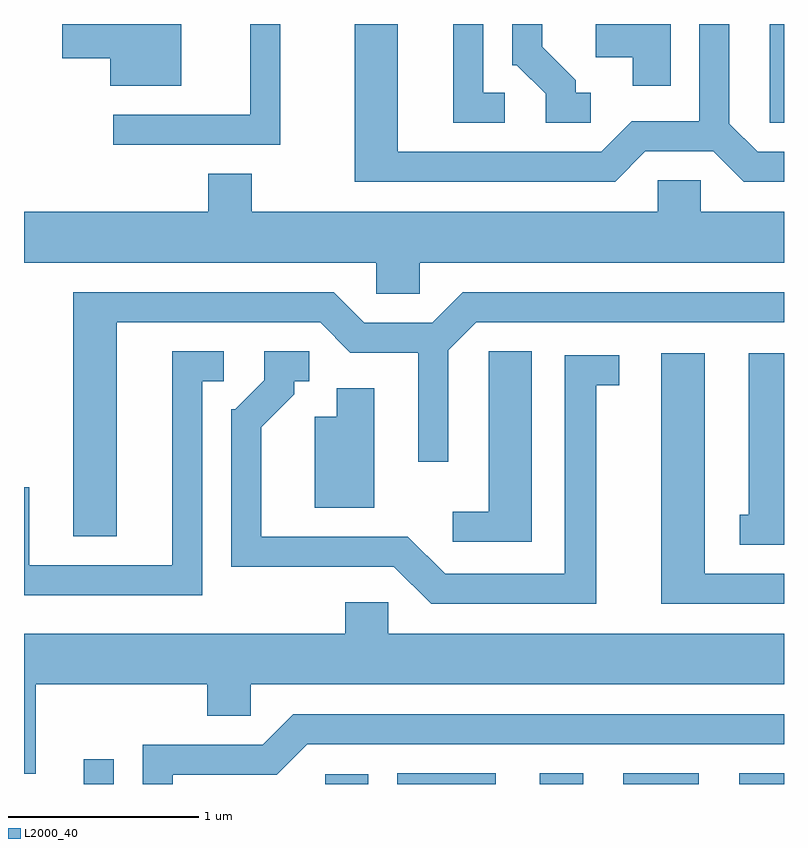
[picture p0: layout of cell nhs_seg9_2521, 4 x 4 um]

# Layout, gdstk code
import gdstk
lib = gdstk.Library(unit=1e-6, precision=1e-09)
def R(c, l, rs):  # rectangles x0, y0, x1, y1
    for r in rs: c.add(gdstk.rectangle(r[:2], r[2:], *l))
def P(c, l, *ps):  # polygons
    for p in ps: c.add(gdstk.Polygon(p, *l))
L2000_40 = (2000, 40)

nhs_seg9_2521 = lib.new_cell('nhs_seg9_2521')
R(nhs_seg9_2521, L2000_40, [(259.926,1962.432,260.084,1962.563), (261.196,1962.432,261.424,1962.484), (261.576,1962.432,262.094,1962.489), (262.326,1962.432,262.554,1962.489), (262.766,1962.432,263.163,1962.489), (263.376,1962.432,263.611,1962.489), (263.536,1965.911,263.611,1966.432)])
P(nhs_seg9_2521, L2000_40, [(263.014,1966.432),(262.621,1966.432),(262.621,1966.256),(262.816,1966.256),(262.816,1966.106),(263.014,1966.106)],
  [(262.882,1965.761),(263.239,1965.761),(263.399,1965.601),(263.611,1965.601),(263.611,1965.759),(263.472,1965.759),(263.324,1965.907),(263.324,1966.432),(263.166,1966.432),(263.166,1965.919),(262.809,1965.919),(262.649,1965.759),(261.579,1965.759),(261.579,1966.432),(261.351,1966.432),(261.351,1965.601),(262.722,1965.601)],
  [(262.142,1966.069),(262.029,1966.069),(262.029,1966.432),(261.871,1966.432),(261.871,1965.911),(262.142,1965.911)],
  [(260.959,1966.432),(260.801,1966.432),(260.801,1965.954),(260.082,1965.954),(260.082,1965.796),(260.959,1965.796)],
  [(262.593,1966.069),(262.514,1966.069),(262.514,1966.137),(262.339,1966.312),(262.339,1966.432),(262.181,1966.432),(262.181,1966.216),(262.204,1966.216),(262.356,1966.064),(262.356,1965.911),(262.593,1965.911)],
  [(260.439,1966.432),(259.811,1966.432),(259.811,1966.251),(260.066,1966.251),(260.066,1966.106),(260.439,1966.106)],
  [(261.694,1965.176),(263.611,1965.176),(263.611,1965.444),(263.174,1965.444),(263.174,1965.609),(262.946,1965.609),(262.946,1965.444),(260.809,1965.444),(260.809,1965.644),(260.581,1965.644),(260.581,1965.444),(259.611,1965.444),(259.611,1965.176),(261.466,1965.176),(261.466,1965.011),(261.694,1965.011)],
  [(260.099,1964.861),(261.169,1964.861),(261.329,1964.701),(261.686,1964.701),(261.686,1964.128),(261.844,1964.128),(261.844,1964.714),(261.992,1964.861),(263.611,1964.861),(263.611,1965.019),(261.919,1965.019),(261.759,1964.859),(261.402,1964.859),(261.242,1965.019),(259.871,1965.019),(259.871,1963.736),(260.099,1963.736)],
  [(262.624,1964.531),(262.743,1964.531),(262.743,1964.689),(262.456,1964.689),(262.456,1963.539),(261.827,1963.539),(261.632,1963.734),(260.859,1963.734),(260.859,1964.309),(261.034,1964.484),(261.034,1964.551),(261.113,1964.551),(261.113,1964.709),(260.876,1964.709),(260.876,1964.557),(260.724,1964.404),(260.701,1964.404),(260.701,1963.576),(261.558,1963.576),(261.754,1963.381),(262.624,1963.381)],
  [(260.549,1964.551),(260.663,1964.551),(260.663,1964.709),(260.391,1964.709),(260.391,1963.584),(259.639,1963.584),(259.639,1963.994),(259.611,1963.994),(259.611,1963.426),(260.549,1963.426)],
  [(262.284,1964.709),(262.056,1964.709),(262.056,1963.864),(261.868,1963.864),(261.868,1963.706),(262.284,1963.706)],
  [(263.611,1964.699),(263.426,1964.699),(263.426,1963.849),(263.378,1963.849),(263.378,1963.691),(263.611,1963.691)],
  [(263.611,1963.539),(263.194,1963.539),(263.194,1964.699),(262.966,1964.699),(262.966,1963.381),(263.611,1963.381)],
  [(261.454,1964.514),(261.256,1964.514),(261.256,1964.364),(261.141,1964.364),(261.141,1963.886),(261.454,1963.886)],
  [(259.674,1962.956),(260.576,1962.956),(260.576,1962.791),(260.804,1962.791),(260.804,1962.956),(263.611,1962.956),(263.611,1963.224),(261.529,1963.224),(261.529,1963.389),(261.301,1963.389),(261.301,1963.224),(259.611,1963.224),(259.611,1962.486),(259.674,1962.486)],
  [(260.394,1962.481),(260.942,1962.481),(261.102,1962.641),(263.611,1962.641),(263.611,1962.799),(261.029,1962.799),(260.868,1962.639),(260.236,1962.639),(260.236,1962.432),(260.394,1962.432)])

lib.write_gds('nhs_seg9_2521.gds')
